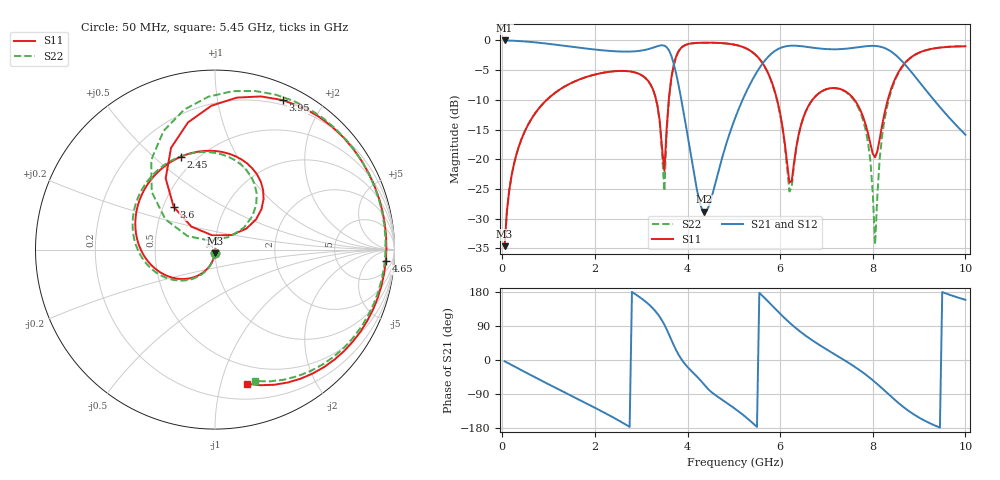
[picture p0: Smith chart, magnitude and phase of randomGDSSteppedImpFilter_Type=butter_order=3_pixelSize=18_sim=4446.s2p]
! freq	dB(S11)	phase(S11)	dB(S12)	phase(S12)
!  dB(S21)	phase(S21)	dB(S22)	phase(S22)
!S-par simulation data
#  GHz  S  DB  R 50
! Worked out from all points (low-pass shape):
!   200 points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, 50 MHz to 10 GHz, reference 50 ohm
!   highest |S21| = -0.01 dB at 50 MHz (marker M1); lowest = -28.8 dB at 4.35 GHz (marker M2)
!   |S21| within 3 dB of the highest: start of sweep to 3.667 GHz; 5.712 GHz to 8.569 GHz (2.857 GHz wide, 40 % of centre)
!   lowest |S11| = -34.6 dB at 50 MHz (marker M3), VSWR 1.04, Z = 49.9 - j1.85 ohm
!   |S11| at or under -10 dB: start of sweep to 961.3 MHz; 5.933 GHz to 6.697 GHz (763.7 MHz wide, 12.1 % of centre); 7.604 GHz to 8.326 GHz (721.5 MHz wide, 9.06 % of centre) (the widest 3 of 4)
!   |S22| runs from -34.6 to -0.4 dB; largest |S21 - S12| = 0
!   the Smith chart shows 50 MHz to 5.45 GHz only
!   S11 on the Smith chart (normalised r, x): 50 MHz: 1.00, -0.04; 2.45 GHz: 0.41, +0.61; 3.6 GHz: 0.57, +0.30; 3.95 GHz: 0.15, +1.54; 4.65 GHz: 14, -20; 5.45 GHz: 0.33, -1.21
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0.05  -34.63 -92.5  -0.01 -3.3  -0.01 -3.3  -34.63 -92.3
0.5  -15.07 -123.8  -0.18 -32.4  -0.18 -32.4  -15.07 -122.0
1.75  -6.33 155.7  -1.31 -110.5  -1.31 -110.5  -6.33 162.0
2.45  -5.17 110.3  -1.84 -155.3  -1.84 -155.3  -5.17 118.4
3.4  -13.55 33.8  -0.87 113.7  -0.87 113.7  -13.78 37.4
3.5  -21.95 99.5  -0.89 93.1  -0.89 93.1  -25.34 115.4
3.6  -9.59 134.0  -1.69 67.4  -1.69 67.4  -9.80 148.6
3.95  -0.78 65.7  -13.67 -11.4  -13.67 -11.4  -0.80 75.8
4.35  -0.38 21.9  -28.85 -64.0  -28.85 -64.0  -0.40 30.3
4.65  -0.41 -3.9  -22.55 -96.8  -22.55 -96.8  -0.43 3.3
5.05  -0.77 -38.0  -12.61 -130.9  -12.61 -130.9  -0.79 -32.5
5.45  -2.28 -76.6  -5.94 -171.1  -5.94 -171.1  -2.31 -72.9
5.9  -9.00 -123.8  -1.71 134.4  -1.71 134.4  -9.10 -123.0
6.2  -23.94 -95.4  -0.91 98.8  -0.91 98.8  -25.43 -95.2
6.7  -9.96 -43.1  -1.22 51.4  -1.22 51.4  -9.97 -42.8
7.7  -11.21 -102.4  -1.13 -25.4  -1.13 -25.4  -11.52 -117.8
7.95  -17.46 -95.5  -0.93 -48.3  -0.93 -48.3  -20.42 -146.1
8.05  -19.68 -62.4  -0.93 -58.5  -0.93 -58.5  -34.35 123.7
8.15  -16.56 -29.2  -1.04 -69.2  -1.04 -69.2  -19.86 29.0
8.35  -9.30 -24.0  -1.65 -91.3  -1.65 -91.3  -9.82 1.4
9.15  -1.64 -81.6  -8.39 -161.9  -8.39 -161.9  -1.66 -71.6
10  -0.99 -121.7  -15.88 158.8  -15.88 158.8  -0.96 -113.1
